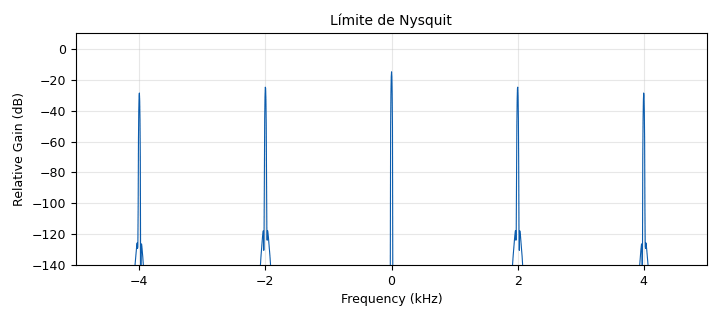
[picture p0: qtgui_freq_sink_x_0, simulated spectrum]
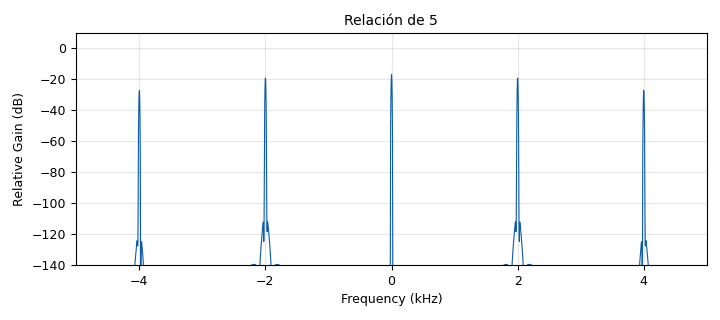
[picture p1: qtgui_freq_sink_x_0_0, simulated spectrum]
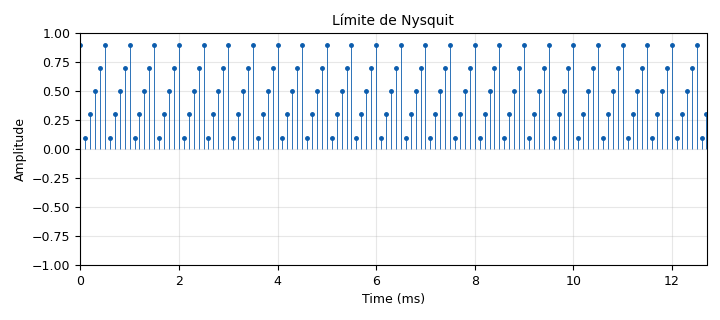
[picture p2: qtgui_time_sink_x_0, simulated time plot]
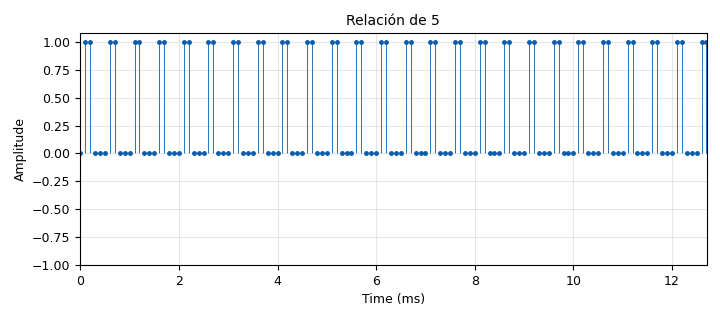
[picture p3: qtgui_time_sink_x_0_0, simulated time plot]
options:
  parameters:
    author: Danilo_Duran_B1C_G2
    generate_options: qt_gui
    id: Lab1_Punto2
    output_language: python
    title: Lab1_Punto2_MUestreo
  states: {}

blocks:
- name: freq
  id: variable_qtgui_range
  parameters:
    label: frecuency Nysquit
    start: '1000'
    step: '1000'
    stop: '40000'
    value: '2000'
  states: {}
- name: freq2
  id: variable_qtgui_range
  parameters:
    label: frecuency - Relación de 5
    start: '1000'
    step: '1000'
    stop: '40000'
    value: '2000'
  states: {}
- name: samp_rate
  id: variable
  parameters:
    value: '32000'
  states: {state: disabled}
- name: samp_rate
  id: variable_qtgui_range
  parameters:
    label: frecuencia de muestreo Nysquit
    start: '1000'
    step: '1000'
    stop: '80000'
    value: '10000'
  states: {}
- name: samp_rate2
  id: variable_qtgui_range
  parameters:
    label: frecuencia de muestreo - Relación de 5
    start: '1000'
    step: '1000'
    stop: '80000'
    value: '10000'
  states: {}
- name: analog_sig_source_x_0
  id: analog_sig_source_x
  parameters:
    amp: '1'
    freq: freq
    offset: '0'
    phase: '0'
    samp_rate: samp_rate
    type: float
    waveform: analog.GR_SAW_WAVE
  states: {}
- name: analog_sig_source_x_0_0
  id: analog_sig_source_x
  parameters:
    amp: '1'
    freq: freq2
    offset: '0'
    phase: '0'
    samp_rate: samp_rate2
    type: float
    waveform: analog.GR_SQR_WAVE
  states: {}
- name: blocks_throttle2_0
  id: blocks_throttle2
  parameters:
    samples_per_second: samp_rate
    type: float
  states: {}
- name: blocks_throttle2_0_0
  id: blocks_throttle2
  parameters:
    samples_per_second: samp_rate
    type: float
  states: {}
- name: qtgui_freq_sink_x_0
  id: qtgui_freq_sink_x
  parameters:
    bw: samp_rate
    fc: '0'
    fftsize: '2048'
    name: Límite de Nysquit
    type: float
  states: {}
- name: qtgui_freq_sink_x_0_0
  id: qtgui_freq_sink_x
  parameters:
    bw: samp_rate
    fc: '0'
    fftsize: '2048'
    name: Relación de 5
    type: float
  states: {}
- name: qtgui_time_sink_x_0
  id: qtgui_time_sink_x
  parameters:
    name: Límite de Nysquit
    size: '128'
    srate: samp_rate
    stemplot: 'True'
    type: float
  states: {}
- name: qtgui_time_sink_x_0_0
  id: qtgui_time_sink_x
  parameters:
    name: Relación de 5
    size: '128'
    srate: samp_rate
    stemplot: 'True'
    type: float
  states: {}

connections:
- [analog_sig_source_x_0, '0', blocks_throttle2_0, '0']
- [analog_sig_source_x_0_0, '0', blocks_throttle2_0_0, '0']
- [blocks_throttle2_0, '0', qtgui_freq_sink_x_0, '0']
- [blocks_throttle2_0, '0', qtgui_time_sink_x_0, '0']
- [blocks_throttle2_0_0, '0', qtgui_freq_sink_x_0_0, '0']
- [blocks_throttle2_0_0, '0', qtgui_time_sink_x_0_0, '0']

metadata:
  file_format: 1
  grc_version: v3.10.11.0-89-ga17f69e7
